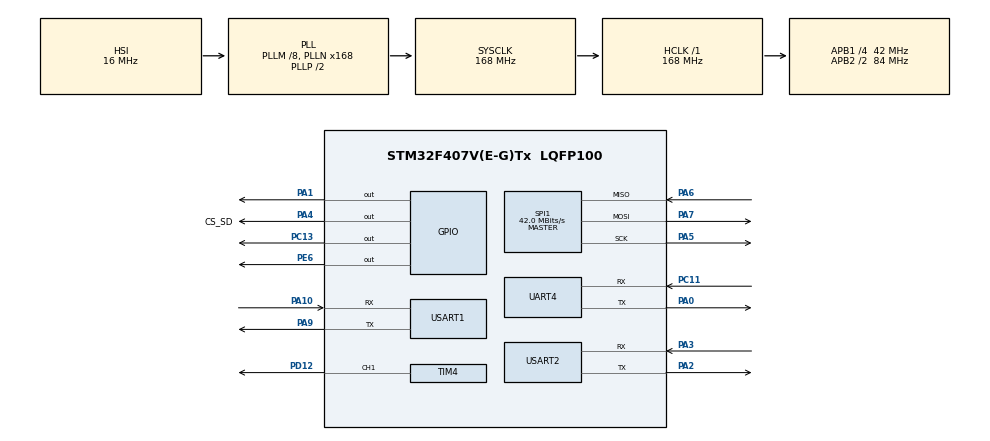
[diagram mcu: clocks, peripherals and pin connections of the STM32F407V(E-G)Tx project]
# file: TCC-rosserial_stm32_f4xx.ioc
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FATFS._MAX_SS=4096
FATFS._USE_LFN=1
Mcu.Family=STM32F4
Mcu.Name=STM32F407V(E-G)Tx
Mcu.Package=LQFP100
NVIC.PriorityGroup=NVIC_PRIORITYGROUP_4
NVIC.TIM4_IRQn=true\:5\:0\:true\:false\:true\:true\:true\:true
NVIC.USART1_IRQn=true\:0\:0\:false\:false\:true\:true\:true\:true
NVIC.USART2_IRQn=true\:0\:0\:false\:false\:true\:true\:true\:true
PA0-WKUP.Mode=Asynchronous
PA0-WKUP.Signal=UART4_TX
PA1.Signal=GPIO_Output
PA10.Mode=Asynchronous
PA10.Signal=USART1_RX
PA2.Mode=Asynchronous
PA2.Signal=USART2_TX
PA3.Mode=Asynchronous
PA3.Signal=USART2_RX
PA4.GPIO_Label=CS_SD
PA4.Signal=GPIO_Output
PA5.Mode=Full_Duplex_Master
PA5.Signal=SPI1_SCK
PA6.Mode=Full_Duplex_Master
PA6.Signal=SPI1_MISO
PA7.Mode=Full_Duplex_Master
PA7.Signal=SPI1_MOSI
PA9.Mode=Asynchronous
PA9.Signal=USART1_TX
PC11.Mode=Asynchronous
PC11.Signal=UART4_RX
PC13-ANTI_TAMP.Signal=GPIO_Output
PC14-OSC32_IN.Mode=LSE-External-Oscillator
PC14-OSC32_IN.Signal=RCC_OSC32_IN
PC15-OSC32_OUT.Mode=LSE-External-Oscillator
PC15-OSC32_OUT.Signal=RCC_OSC32_OUT
PD12.Signal=S_TIM4_CH1
PE6.Signal=GPIO_Output
PH0-OSC_IN.Mode=HSE-External-Oscillator
PH0-OSC_IN.Signal=RCC_OSC_IN
PH1-OSC_OUT.Mode=HSE-External-Oscillator
PH1-OSC_OUT.Signal=RCC_OSC_OUT
ProjectManager.HeapSize=0x200
ProjectManager.StackSize=0x400
ProjectManager.TargetToolchain=STM32CubeIDE
RCC.48MHZClocksFreq_Value=84000000
RCC.AHBFreq_Value=168000000
RCC.APB1CLKDivider=RCC_HCLK_DIV4
RCC.APB1Freq_Value=42000000
RCC.APB1TimFreq_Value=84000000
RCC.APB2CLKDivider=RCC_HCLK_DIV2
RCC.APB2Freq_Value=84000000
RCC.APB2TimFreq_Value=168000000
RCC.CortexFreq_Value=168000000
RCC.HCLKFreq_Value=168000000
RCC.HSE_VALUE=25000000
RCC.HSI_VALUE=16000000
RCC.PLLM=8
RCC.PLLN=168
RCC.SYSCLKFreq_VALUE=168000000
RCC.SYSCLKSource=RCC_SYSCLKSOURCE_PLLCLK
RCC.VCOOutputFreq_Value=336000000
SH.S_TIM4_CH1.0=TIM4_CH1,PWM Generation1 CH1
SPI1.CalculateBaudRate=42.0 MBits/s
SPI1.Direction=SPI_DIRECTION_2LINES
SPI1.Mode=SPI_MODE_MASTER
SPI1.VirtualType=VM_MASTER
TIM4.AutoReloadPreload=TIM_AUTORELOAD_PRELOAD_DISABLE
TIM4.Channel-PWM\ Generation1\ CH1=TIM_CHANNEL_1
TIM4.ClockDivision=TIM_CLOCKDIVISION_DIV1
TIM4.Period=1000-1
TIM4.Prescaler=65536-1
TIM4.Pulse-PWM\ Generation1\ CH1=0
UART4.VirtualMode=Asynchronous
USART1.VirtualMode=VM_ASYNC
USART2.VirtualMode=VM_ASYNC
VP_FATFS_VS_Generic.Mode=User_defined
VP_TIM4_VS_ClockSourceINT.Mode=Internal
board=custom

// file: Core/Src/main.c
/* USER CODE BEGIN Header */
/**
  ******************************************************************************
  * @file           : main.c
  * @brief          : Main program body
  ******************************************************************************
  * @attention
  *
  * Copyright (c) 2023 STMicroelectronics.
  * All rights reserved.
  *
  * This software is licensed under terms that can be found in the LICENSE file
  * in the root directory of this software component.
  * If no LICENSE file comes with this software, it is provided AS-IS.
  *
  ******************************************************************************
  */
/* USER CODE END Header */
#include "main.h"
#include "fatfs.h"

/* USER CODE BEGIN Includes */

#include <stdbool.h>
#include <stdio.h>
#include <stdlib.h>
#include <string.h>
#include "diskio.h"

#include "fatfs_sd.h"
#include "sd_card_lib/sd_funcs.h"
/* USER CODE END Includes */

/* USER CODE BEGIN PD */
FATFS fs;
FIL fil;
/* USER CODE END PD */

SPI_HandleTypeDef hspi1;

TIM_HandleTypeDef htim4;

UART_HandleTypeDef huart4;
UART_HandleTypeDef huart1;
UART_HandleTypeDef huart2;

/* USER CODE BEGIN PV */
char master_buffer[4320], c_scan1[2160], c_scan2[2160];
uint8_t rx_buffer, flag_scan, ctt_scan=0, idx_num=0;
char num_acc[6];
float f_scan1[360], f_scan2[360];
float f_scan1_sampled[120], f_scan2_sampled[120];
int idx_buff=0, idx_scan=0;
/* USER CODE END PV */

void SystemClock_Config(void);
static void MX_GPIO_Init(void);
static void MX_TIM4_Init(void);
static void MX_USART1_UART_Init(void);
static void MX_UART4_Init(void);
static void MX_USART2_UART_Init(void);
static void MX_SPI1_Init(void);
/* USER CODE BEGIN PFP */

// Here I can choose how to sample the information from the LiDAR Sensor
void HAL_UART_RxCpltCallback(UART_HandleTypeDef *huart){
	if(huart->Instance == USART1){

		if( (char)rx_buffer != '[' && (char)rx_buffer != ' ' && (char)rx_buffer != ',' && (char)rx_buffer != ']'){		// accumulate the characters of the scan range value
			num_acc[idx_num] = (char)rx_buffer;
			idx_num++;

		}else if((char)rx_buffer == ','){							// clean num buffer for next scan range value
			 if(ctt_scan == 0){										// accumulate first scan
				 f_scan1[idx_scan] = atof(num_acc);
				 idx_scan++;
			 }
			 else if(ctt_scan == 1){
				 f_scan2[idx_scan] = atof(num_acc);
				 idx_scan++;
			 }
			memset(num_acc, 0 , 6);
			idx_num = 0;

		}else if((char)rx_buffer == ']'){							// Count sequential scans
//			master_buffer[idx_buff] = (char)rx_buffer;
			idx_scan = 0;
			ctt_scan++;
		}

		if(ctt_scan == 2){											// two scans ready for processing
			ctt_scan = 0;
			idx_scan=0;
//			idx_buff = 0;
			flag_scan =1;
//			memset(master_buffer, 0, 4320);

		}
		__HAL_UART_FLUSH_DRREGISTER(huart);
		__HAL_UART_CLEAR_OREFLAG(huart);
		HAL_UART_Receive_IT(huart, &rx_buffer, 1);
	}
}
/* USER CODE END PFP */

int main(void)
{

  /* MCU Configuration--------------------------------------------------------*/

  /* Reset of all peripherals, Initializes the Flash interface and the Systick. */
  HAL_Init();

  /* Configure the system clock */
  SystemClock_Config();

  /* Initialize all configured peripherals */
  MX_GPIO_Init();
  MX_TIM4_Init();
  MX_USART1_UART_Init();
  MX_UART4_Init();
  MX_USART2_UART_Init();
  MX_SPI1_Init();
  MX_FATFS_Init();
  /* USER CODE BEGIN 2 */
  HAL_UART_Receive_IT(&huart1, &rx_buffer, 1);
  /* USER CODE END 2 */

  /* Infinite loop */
  /* USER CODE BEGIN WHILE */
  int frames_passed = 1;
//  float latest_transform[3];
  float cumulative_transform[3];
  float final_transform[3];
  float* aux = (float*) malloc(sizeof(float) * 3);

  for(int i=0; i< 3 ; i++){
	  final_transform[i] = 0;
//	  latest_transform[i]=0;
	  final_transform[i] = 0;
  }

  FRESULT SD_stat = SD_test( fs, fil);
  bool OPEN_SAVE = 0;
  FRESULT op, cl;
  if(SD_stat == 0){
	  OPEN_SAVE = 1;
	  op = f_open(&fil, "data_data.txt", FA_OPEN_ALWAYS | FA_WRITE | FA_READ);
//	  cl = f_close(&fil);
  }
  while (1)
  {
    /* USER CODE END WHILE */

    /* USER CODE BEGIN 3 */
	  if(flag_scan == 1){										// THere are two scans ready for comparison in the scan buffers
		  ICP_main_process_(f_scan1 , f_scan2 , aux);
//		  mainCPP(f_scan1, f_scan2);
		  memset(f_scan1, 0, sizeof(f_scan1));
		  memset(f_scan2, 0, sizeof(f_scan2));
		  flag_scan = 0;
		  frames_passed++;
		  for(int i =0; i< 3;i++){
			  cumulative_transform[i] += aux[i];
		  }
		  Transmit_UART_PoseEstimation(&huart1, aux, frames_passed);
		  // AUX WAS SENT
		  HAL_Delay(100);
	  }

  }
  /* USER CODE END 3 */
}

void SystemClock_Config(void)
{
  RCC_OscInitTypeDef RCC_OscInitStruct = {0};
  RCC_ClkInitTypeDef RCC_ClkInitStruct = {0};

  /** Configure the main internal regulator output voltage
  */
  __HAL_RCC_PWR_CLK_ENABLE();
  __HAL_PWR_VOLTAGESCALING_CONFIG(PWR_REGULATOR_VOLTAGE_SCALE1);

  /** Initializes the RCC Oscillators according to the specified parameters
  * in the RCC_OscInitTypeDef structure.
  */
  RCC_OscInitStruct.OscillatorType = RCC_OSCILLATORTYPE_HSI;
  RCC_OscInitStruct.HSIState = RCC_HSI_ON;
  RCC_OscInitStruct.HSICalibrationValue = RCC_HSICALIBRATION_DEFAULT;
  RCC_OscInitStruct.PLL.PLLState = RCC_PLL_ON;
  RCC_OscInitStruct.PLL.PLLSource = RCC_PLLSOURCE_HSI;
  RCC_OscInitStruct.PLL.PLLM = 8;
  RCC_OscInitStruct.PLL.PLLN = 168;
  RCC_OscInitStruct.PLL.PLLP = RCC_PLLP_DIV2;
  RCC_OscInitStruct.PLL.PLLQ = 4;
  if (HAL_RCC_OscConfig(&RCC_OscInitStruct) != HAL_OK)
  {
    Error_Handler();
  }

  /** Initializes the CPU, AHB and APB buses clocks
  */
  RCC_ClkInitStruct.ClockType = RCC_CLOCKTYPE_HCLK|RCC_CLOCKTYPE_SYSCLK
                              |RCC_CLOCKTYPE_PCLK1|RCC_CLOCKTYPE_PCLK2;
  RCC_ClkInitStruct.SYSCLKSource = RCC_SYSCLKSOURCE_PLLCLK;
  RCC_ClkInitStruct.AHBCLKDivider = RCC_SYSCLK_DIV1;
  RCC_ClkInitStruct.APB1CLKDivider = RCC_HCLK_DIV4;
  RCC_ClkInitStruct.APB2CLKDivider = RCC_HCLK_DIV2;

  if (HAL_RCC_ClockConfig(&RCC_ClkInitStruct, FLASH_LATENCY_5) != HAL_OK)
  {
    Error_Handler();
  }
}

static void MX_SPI1_Init(void)
{

  /* SPI1 parameter configuration*/
  hspi1.Instance = SPI1;
  hspi1.Init.Mode = SPI_MODE_MASTER;
  hspi1.Init.Direction = SPI_DIRECTION_2LINES;
  hspi1.Init.DataSize = SPI_DATASIZE_8BIT;
  hspi1.Init.CLKPolarity = SPI_POLARITY_LOW;
  hspi1.Init.CLKPhase = SPI_PHASE_1EDGE;
  hspi1.Init.NSS = SPI_NSS_SOFT;
  hspi1.Init.BaudRatePrescaler = SPI_BAUDRATEPRESCALER_2;
  hspi1.Init.FirstBit = SPI_FIRSTBIT_MSB;
  hspi1.Init.TIMode = SPI_TIMODE_DISABLE;
  hspi1.Init.CRCCalculation = SPI_CRCCALCULATION_DISABLE;
  hspi1.Init.CRCPolynomial = 10;
  if (HAL_SPI_Init(&hspi1) != HAL_OK)
  {
    Error_Handler();
  }

}

static void MX_TIM4_Init(void)
{

  TIM_ClockConfigTypeDef sClockSourceConfig = {0};
  TIM_MasterConfigTypeDef sMasterConfig = {0};
  TIM_OC_InitTypeDef sConfigOC = {0};

  htim4.Instance = TIM4;
  htim4.Init.Prescaler = 65536-1;
  htim4.Init.CounterMode = TIM_COUNTERMODE_UP;
  htim4.Init.Period = 1000-1;
  htim4.Init.ClockDivision = TIM_CLOCKDIVISION_DIV1;
  htim4.Init.AutoReloadPreload = TIM_AUTORELOAD_PRELOAD_DISABLE;
  if (HAL_TIM_Base_Init(&htim4) != HAL_OK)
  {
    Error_Handler();
  }
  sClockSourceConfig.ClockSource = TIM_CLOCKSOURCE_INTERNAL;
  if (HAL_TIM_ConfigClockSource(&htim4, &sClockSourceConfig) != HAL_OK)
  {
    Error_Handler();
  }
  if (HAL_TIM_PWM_Init(&htim4) != HAL_OK)
  {
    Error_Handler();
  }
  sMasterConfig.MasterOutputTrigger = TIM_TRGO_RESET;
  sMasterConfig.MasterSlaveMode = TIM_MASTERSLAVEMODE_DISABLE;
  if (HAL_TIMEx_MasterConfigSynchronization(&htim4, &sMasterConfig) != HAL_OK)
  {
    Error_Handler();
  }
  sConfigOC.OCMode = TIM_OCMODE_PWM1;
  sConfigOC.Pulse = 0;
  sConfigOC.OCPolarity = TIM_OCPOLARITY_HIGH;
  sConfigOC.OCFastMode = TIM_OCFAST_DISABLE;
  if (HAL_TIM_PWM_ConfigChannel(&htim4, &sConfigOC, TIM_CHANNEL_1) != HAL_OK)
  {
    Error_Handler();
  }
  HAL_TIM_MspPostInit(&htim4);

}

static void MX_UART4_Init(void)
{

  huart4.Instance = UART4;
  huart4.Init.BaudRate = 115200;
  huart4.Init.WordLength = UART_WORDLENGTH_8B;
  huart4.Init.StopBits = UART_STOPBITS_1;
  huart4.Init.Parity = UART_PARITY_NONE;
  huart4.Init.Mode = UART_MODE_TX_RX;
  huart4.Init.HwFlowCtl = UART_HWCONTROL_NONE;
  huart4.Init.OverSampling = UART_OVERSAMPLING_16;
  if (HAL_UART_Init(&huart4) != HAL_OK)
  {
    Error_Handler();
  }

}

static void MX_USART1_UART_Init(void)
{

  huart1.Instance = USART1;
  huart1.Init.BaudRate = 115200;
  huart1.Init.WordLength = UART_WORDLENGTH_8B;
  huart1.Init.StopBits = UART_STOPBITS_1;
  huart1.Init.Parity = UART_PARITY_NONE;
  huart1.Init.Mode = UART_MODE_TX_RX;
  huart1.Init.HwFlowCtl = UART_HWCONTROL_NONE;
  huart1.Init.OverSampling = UART_OVERSAMPLING_16;
  if (HAL_UART_Init(&huart1) != HAL_OK)
  {
    Error_Handler();
  }

}

static void MX_USART2_UART_Init(void)
{

  huart2.Instance = USART2;
  huart2.Init.BaudRate = 115200;
  huart2.Init.WordLength = UART_WORDLENGTH_8B;
  huart2.Init.StopBits = UART_STOPBITS_1;
  huart2.Init.Parity = UART_PARITY_NONE;
  huart2.Init.Mode = UART_MODE_TX_RX;
  huart2.Init.HwFlowCtl = UART_HWCONTROL_NONE;
  huart2.Init.OverSampling = UART_OVERSAMPLING_16;
  if (HAL_UART_Init(&huart2) != HAL_OK)
  {
    Error_Handler();
  }

}

static void MX_GPIO_Init(void)
{
  GPIO_InitTypeDef GPIO_InitStruct = {0};

  /* GPIO Ports Clock Enable */
  __HAL_RCC_GPIOE_CLK_ENABLE();
  __HAL_RCC_GPIOC_CLK_ENABLE();
  __HAL_RCC_GPIOH_CLK_ENABLE();
  __HAL_RCC_GPIOA_CLK_ENABLE();
  __HAL_RCC_GPIOD_CLK_ENABLE();

  /*Configure GPIO pin Output Level */
  HAL_GPIO_WritePin(GPIOE, GPIO_PIN_6, GPIO_PIN_RESET);

  /*Configure GPIO pin Output Level */
  HAL_GPIO_WritePin(GPIOC, GPIO_PIN_13, GPIO_PIN_RESET);

  /*Configure GPIO pin Output Level */
  HAL_GPIO_WritePin(GPIOA, GPIO_PIN_1|CS_SD_Pin, GPIO_PIN_RESET);

  /*Configure GPIO pin : PE6 */
  GPIO_InitStruct.Pin = GPIO_PIN_6;
  GPIO_InitStruct.Mode = GPIO_MODE_OUTPUT_PP;
  GPIO_InitStruct.Pull = GPIO_NOPULL;
  GPIO_InitStruct.Speed = GPIO_SPEED_FREQ_LOW;
  HAL_GPIO_Init(GPIOE, &GPIO_InitStruct);

  /*Configure GPIO pin : PC13 */
  GPIO_InitStruct.Pin = GPIO_PIN_13;
  GPIO_InitStruct.Mode = GPIO_MODE_OUTPUT_PP;
  GPIO_InitStruct.Pull = GPIO_NOPULL;
  GPIO_InitStruct.Speed = GPIO_SPEED_FREQ_LOW;
  HAL_GPIO_Init(GPIOC, &GPIO_InitStruct);

  /*Configure GPIO pins : PA1 CS_SD_Pin */
  GPIO_InitStruct.Pin = GPIO_PIN_1|CS_SD_Pin;
  GPIO_InitStruct.Mode = GPIO_MODE_OUTPUT_PP;
  GPIO_InitStruct.Pull = GPIO_NOPULL;
  GPIO_InitStruct.Speed = GPIO_SPEED_FREQ_LOW;
  HAL_GPIO_Init(GPIOA, &GPIO_InitStruct);

}

void Error_Handler(void)
{
  __disable_irq();
  while (1)
  {
  }
}
